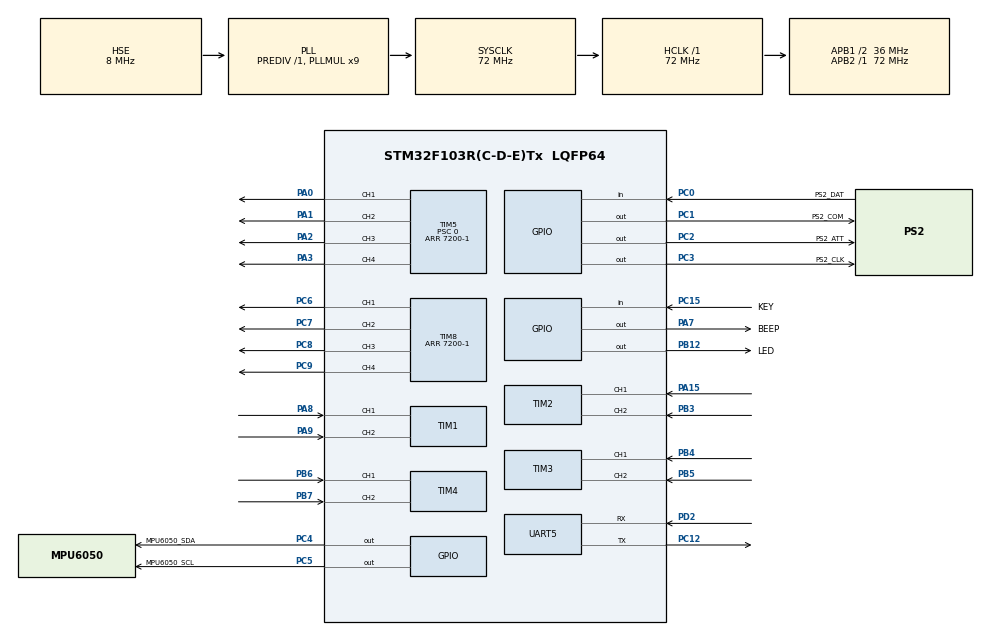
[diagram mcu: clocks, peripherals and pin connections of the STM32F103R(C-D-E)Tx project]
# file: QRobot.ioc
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Mcu.Family=STM32F1
Mcu.Name=STM32F103R(C-D-E)Tx
Mcu.Package=LQFP64
NVIC.PriorityGroup=NVIC_PRIORITYGROUP_4
NVIC.TIM6_IRQn=true\:1\:0\:true\:false\:true\:true\:true\:true
NVIC.UART5_IRQn=true\:1\:0\:true\:false\:true\:true\:true\:true
PA0-WKUP.Signal=S_TIM5_CH1
PA1.Signal=S_TIM5_CH2
PA13.Mode=Serial_Wire
PA13.Signal=SYS_JTMS-SWDIO
PA14.Mode=Serial_Wire
PA14.Signal=SYS_JTCK-SWCLK
PA15.Signal=S_TIM2_CH1_ETR
PA2.Signal=S_TIM5_CH3
PA3.Signal=S_TIM5_CH4
PA7.GPIO_Label=BEEP
PA7.GPIO_Speed=GPIO_SPEED_FREQ_HIGH
PA7.Signal=GPIO_Output
PA8.Signal=S_TIM1_CH1
PA9.Signal=S_TIM1_CH2
PB12.GPIO_Label=LED
PB12.GPIO_Speed=GPIO_SPEED_FREQ_HIGH
PB12.PinState=GPIO_PIN_SET
PB12.Signal=GPIO_Output
PB3.Signal=S_TIM2_CH2
PB4.Signal=S_TIM3_CH1
PB5.Signal=S_TIM3_CH2
PB6.Signal=S_TIM4_CH1
PB7.Signal=S_TIM4_CH2
PC0.GPIO_Label=PS2_DAT
PC0.GPIO_PuPd=GPIO_PULLUP
PC0.Signal=GPIO_Input
PC1.GPIO_Label=PS2_COM
PC1.GPIO_Speed=GPIO_SPEED_FREQ_HIGH
PC1.PinState=GPIO_PIN_SET
PC1.Signal=GPIO_Output
PC12.Mode=Asynchronous
PC12.Signal=UART5_TX
PC15-OSC32_OUT.GPIO_Label=KEY
PC15-OSC32_OUT.Signal=GPIO_Input
PC2.GPIO_Label=PS2_ATT
PC2.GPIO_Speed=GPIO_SPEED_FREQ_HIGH
PC2.PinState=GPIO_PIN_SET
PC2.Signal=GPIO_Output
PC3.GPIO_Label=PS2_CLK
PC3.GPIO_Speed=GPIO_SPEED_FREQ_HIGH
PC3.PinState=GPIO_PIN_SET
PC3.Signal=GPIO_Output
PC4.GPIO_Label=MPU6050_SDA
PC4.GPIO_Speed=GPIO_SPEED_FREQ_HIGH
PC4.PinState=GPIO_PIN_SET
PC4.Signal=GPIO_Output
PC5.GPIO_Label=MPU6050_SCL
PC5.GPIO_Speed=GPIO_SPEED_FREQ_HIGH
PC5.PinState=GPIO_PIN_SET
PC5.Signal=GPIO_Output
PC6.Signal=S_TIM8_CH1
PC7.Signal=S_TIM8_CH2
PC8.Signal=S_TIM8_CH3
PC9.Signal=S_TIM8_CH4
PD0-OSC_IN.Mode=HSE-External-Oscillator
PD0-OSC_IN.Signal=RCC_OSC_IN
PD1-OSC_OUT.Mode=HSE-External-Oscillator
PD1-OSC_OUT.Signal=RCC_OSC_OUT
PD2.Mode=Asynchronous
PD2.Signal=UART5_RX
ProjectManager.HeapSize=0x200
ProjectManager.StackSize=0x400
ProjectManager.TargetToolchain=MDK-ARM V5.32
RCC.AHBFreq_Value=72000000
RCC.APB1CLKDivider=RCC_HCLK_DIV2
RCC.APB1Freq_Value=36000000
RCC.APB1TimFreq_Value=72000000
RCC.APB2Freq_Value=72000000
RCC.APB2TimFreq_Value=72000000
RCC.HCLKFreq_Value=72000000
RCC.PLLMUL=RCC_PLL_MUL9
RCC.PLLSourceVirtual=RCC_PLLSOURCE_HSE
RCC.SYSCLKFreq_VALUE=72000000
RCC.SYSCLKSource=RCC_SYSCLKSOURCE_PLLCLK
RCC.USBFreq_Value=72000000
SH.S_TIM1_CH1.0=TIM1_CH1,Encoder_Interface
SH.S_TIM1_CH2.0=TIM1_CH2,Encoder_Interface
SH.S_TIM2_CH1_ETR.0=TIM2_CH1,Encoder_Interface
SH.S_TIM2_CH2.0=TIM2_CH2,Encoder_Interface
SH.S_TIM3_CH1.0=TIM3_CH1,Encoder_Interface
SH.S_TIM3_CH2.0=TIM3_CH2,Encoder_Interface
SH.S_TIM4_CH1.0=TIM4_CH1,Encoder_Interface
SH.S_TIM4_CH2.0=TIM4_CH2,Encoder_Interface
SH.S_TIM5_CH1.0=TIM5_CH1,PWM Generation1 CH1
SH.S_TIM5_CH2.0=TIM5_CH2,PWM Generation2 CH2
SH.S_TIM5_CH3.0=TIM5_CH3,PWM Generation3 CH3
SH.S_TIM5_CH4.0=TIM5_CH4,PWM Generation4 CH4
SH.S_TIM8_CH1.0=TIM8_CH1,PWM Generation1 CH1
SH.S_TIM8_CH2.0=TIM8_CH2,PWM Generation2 CH2
SH.S_TIM8_CH3.0=TIM8_CH3,PWM Generation3 CH3
SH.S_TIM8_CH4.0=TIM8_CH4,PWM Generation4 CH4
TIM1.EncoderMode=TIM_ENCODERMODE_TI12
TIM1.IC1Filter=10
TIM1.IC2Filter=10
TIM2.EncoderMode=TIM_ENCODERMODE_TI12
TIM2.IC1Filter=10
TIM2.IC2Filter=10
TIM3.EncoderMode=TIM_ENCODERMODE_TI12
TIM3.IC1Filter=10
TIM3.IC2Filter=10
TIM4.EncoderMode=TIM_ENCODERMODE_TI12
TIM4.IC1Filter=10
TIM4.IC2Filter=10
TIM5.Channel-PWM\ Generation1\ CH1=TIM_CHANNEL_1
TIM5.Channel-PWM\ Generation2\ CH2=TIM_CHANNEL_2
TIM5.Channel-PWM\ Generation3\ CH3=TIM_CHANNEL_3
TIM5.Channel-PWM\ Generation4\ CH4=TIM_CHANNEL_4
TIM5.Period=7200-1
TIM5.Prescaler=0
TIM6.Period=1000-1
TIM6.Prescaler=72-1
TIM8.Channel-PWM\ Generation1\ CH1=TIM_CHANNEL_1
TIM8.Channel-PWM\ Generation2\ CH2=TIM_CHANNEL_2
TIM8.Channel-PWM\ Generation3\ CH3=TIM_CHANNEL_3
TIM8.Channel-PWM\ Generation4\ CH4=TIM_CHANNEL_4
TIM8.Period=7200-1
UART5.VirtualMode=Asynchronous
VP_TIM6_VS_ClockSourceINT.Mode=Enable_Timer
board=custom

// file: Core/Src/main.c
/* USER CODE BEGIN Header */
#include "motor.h"
#include "encoder.h"
#include "system.h"
#include "motion_model.h"
#include "pid.h"
#include "delay.h"
#include "ps2.h"
#include "serial.h"
#include "mpu6050.h"

/**
  ******************************************************************************
  * @file           : main.c
  * @brief          : Main program body
  ******************************************************************************
  * @attention
  *
  * Copyright (c) 2023 STMicroelectronics.
  * All rights reserved.
  *
  * This software is licensed under terms that can be found in the LICENSE file
  * in the root directory of this software component.
  * If no LICENSE file comes with this software, it is provided AS-IS.
  *
  ******************************************************************************
  */
/* USER CODE END Header */
#include "main.h"
#include "tim.h"
#include "usart.h"
#include "gpio.h"

/* USER CODE BEGIN PV */
int PS2_key=0;
extern uint8_t uart5_rxbuff;
//extern int PS2_LX, PS2_LY, PS2_RX, PS2_RY;
/* USER CODE END PV */

void SystemClock_Config(void);

/* USER CODE BEGIN 0 */
void HAL_TIM_PeriodElapsedCallback(TIM_HandleTypeDef *htim)
{
	static uint16_t enc_cnt = 0;
	static uint16_t ps2_cnt = 0;
	static uint16_t uart_cnt = 0;
	static uint16_t imu_cnt = 0;

	if(htim == &htim6){
		enc_cnt ++;
		ps2_cnt ++;
		uart_cnt ++;
		imu_cnt ++;

		if(imu_cnt > 5){ // 5ms采集mpu6050数据
			imu_cnt = 0;
			MPU_Get_Accelerometer(&Send_Data.Sensor_str.Accelerometer);
			MPU_Get_Gyroscope(&Send_Data.Sensor_str.Gyroscope);
		}

		if(enc_cnt > 10){ // 10ms/100hz采集编码器数据
			enc_cnt = 0;
			Get_Velocity();
		}
		if(uart_cnt > 50){
			uart_cnt = 0;
			STM32_TO_ROS();
		}

		if(ps2_cnt > 60){
			ps2_cnt = 0;
			PS2_key = PS2_Receive();
			PS2_Pub_vel(PS2_key);
		}

	}
}

/* USER CODE END 0 */

int main(void)
{

  /* MCU Configuration--------------------------------------------------------*/

  /* Reset of all peripherals, Initializes the Flash interface and the Systick. */
  HAL_Init();

  /* Configure the system clock */
  SystemClock_Config();

  /* Initialize all configured peripherals */
  MX_GPIO_Init();
  MX_TIM5_Init();
  MX_TIM8_Init();
  MX_TIM1_Init();
  MX_TIM2_Init();
  MX_TIM3_Init();
  MX_TIM4_Init();
  MX_TIM6_Init();
  MX_UART5_Init();
  /* USER CODE BEGIN 2 */
	HAL_Delay_us_init(72);

	PS2_Init(); //PS2手柄初始化
	MPU6050_Init(); // MPU6050初始化

	// 电机PWM，满占空比是7200
	HAL_TIM_PWM_Start(&htim8, TIM_CHANNEL_1); // M1_PWMA_1
	HAL_TIM_PWM_Start(&htim8, TIM_CHANNEL_2); // M1_PWMA_2
	HAL_TIM_PWM_Start(&htim8, TIM_CHANNEL_3); // M3_PWMA_1
	HAL_TIM_PWM_Start(&htim8, TIM_CHANNEL_4); // M3_PWMA_2

	HAL_TIM_PWM_Start(&htim5, TIM_CHANNEL_1); // M4_PWMA_1
	HAL_TIM_PWM_Start(&htim5, TIM_CHANNEL_2); // M4_PWMA_2
	HAL_TIM_PWM_Start(&htim5, TIM_CHANNEL_3); // M2_PWMA_1
	HAL_TIM_PWM_Start(&htim5, TIM_CHANNEL_4); // M2_PWMA_2

	// 编码器
	HAL_TIM_Encoder_Start(&htim1,TIM_CHANNEL_ALL); // M1_ENC
	HAL_TIM_Encoder_Start(&htim2,TIM_CHANNEL_ALL); // M2_ENC
	HAL_TIM_Encoder_Start(&htim3,TIM_CHANNEL_ALL); // M3_ENC
	HAL_TIM_Encoder_Start(&htim4,TIM_CHANNEL_ALL); // M4_ENC

	Moto1.Target_Speed = 0.5;
	Moto2.Target_Speed = 0.5;
	Moto3.Target_Speed = 0.5;
	Moto4.Target_Speed = 0.5;

	// 定时器中断
	HAL_TIM_Base_Start_IT(&htim6); // 开启定时中断TIM6

	// 串口
	HAL_UART_Receive_IT(&huart5,(void *)&uart5_rxbuff,1);
  /* USER CODE END 2 */

  /* Infinite loop */
  /* USER CODE BEGIN WHILE */
  while (1)
  {
//		HAL_Delay(40);
//		Motor_Control(PID_Incremental(&Moto1),PID_Incremental(&Moto2),PID_Incremental(&Moto3),PID_Incremental(&Moto4));
//

    /* USER CODE END WHILE */

  }
}

void SystemClock_Config(void)
{
  RCC_OscInitTypeDef RCC_OscInitStruct = {0};
  RCC_ClkInitTypeDef RCC_ClkInitStruct = {0};

  /** Initializes the RCC Oscillators according to the specified parameters
  * in the RCC_OscInitTypeDef structure.
  */
  RCC_OscInitStruct.OscillatorType = RCC_OSCILLATORTYPE_HSE;
  RCC_OscInitStruct.HSEState = RCC_HSE_ON;
  RCC_OscInitStruct.HSEPredivValue = RCC_HSE_PREDIV_DIV1;
  RCC_OscInitStruct.HSIState = RCC_HSI_ON;
  RCC_OscInitStruct.PLL.PLLState = RCC_PLL_ON;
  RCC_OscInitStruct.PLL.PLLSource = RCC_PLLSOURCE_HSE;
  RCC_OscInitStruct.PLL.PLLMUL = RCC_PLL_MUL9;
  if (HAL_RCC_OscConfig(&RCC_OscInitStruct) != HAL_OK)
  {
    Error_Handler();
  }

  /** Initializes the CPU, AHB and APB buses clocks
  */
  RCC_ClkInitStruct.ClockType = RCC_CLOCKTYPE_HCLK|RCC_CLOCKTYPE_SYSCLK
                              |RCC_CLOCKTYPE_PCLK1|RCC_CLOCKTYPE_PCLK2;
  RCC_ClkInitStruct.SYSCLKSource = RCC_SYSCLKSOURCE_PLLCLK;
  RCC_ClkInitStruct.AHBCLKDivider = RCC_SYSCLK_DIV1;
  RCC_ClkInitStruct.APB1CLKDivider = RCC_HCLK_DIV2;
  RCC_ClkInitStruct.APB2CLKDivider = RCC_HCLK_DIV1;

  if (HAL_RCC_ClockConfig(&RCC_ClkInitStruct, FLASH_LATENCY_2) != HAL_OK)
  {
    Error_Handler();
  }
}

void Error_Handler(void)
{
  __disable_irq();
  while (1)
  {
  }
}
